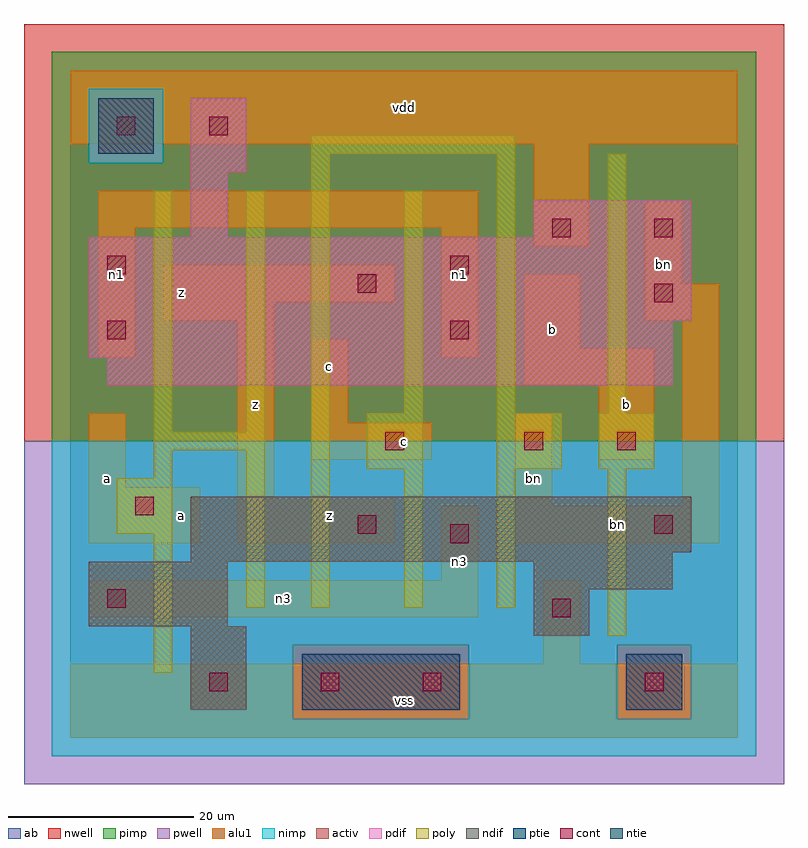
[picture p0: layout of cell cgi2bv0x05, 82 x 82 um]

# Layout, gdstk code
import gdstk
lib = gdstk.Library(unit=1e-6, precision=1e-09)
def R(c, l, rs):  # rectangles x0, y0, x1, y1
    for r in rs: c.add(gdstk.rectangle(r[:2], r[2:], *l))
ndif = (3, 0)
pdif = (4, 0)
ntie = (5, 0)
ptie = (6, 0)
cont = (25, 0)
pwell = (41, 0)
nwell = (42, 0)
activ = (43, 0)
pimp = (44, 0)
nimp = (45, 0)
poly = (46, 0)
alu1 = (49, 0)
ab = (63, 0)

cgi2bv0x05 = lib.new_cell('cgi2bv0x05')
R(cgi2bv0x05, ndif, [(13,3,19,12), (50,11,56,16), (2,12,17,19), (50,16,65,19), (13,19,65,20), (13,20,67,26)])
R(cgi2bv0x05, pdif, [(4,38,65,41), (2,41,65,45), (2,45,67,54), (13,54,17,61), (50,54,67,58), (13,61,19,69)])
R(cgi2bv0x05, ntie, [(3,63,9,69)])
R(cgi2bv0x05, ptie, [(25,3,42,9), (60,3,66,9)])
R(cgi2bv0x05, cont, [(15,5,17,7), (27,5,29,7), (38,5,40,7), (62,5,64,7), (52,13,54,15), (4,14,6,16), (41,21,43,23), (31,22,33,24), (63,22,65,24), (7,24,9,26), (34,31,36,33), (49,31,51,33), (59,31,61,33), (4,43,6,45), (41,43,43,45), (63,47,65,49), (31,48,33,50), (4,50,6,52), (41,50,43,52), (52,54,54,56), (63,54,65,56), (5,65,7,67), (15,65,17,67)])
R(cgi2bv0x05, pwell, [(-5,-5,77,32)])
R(cgi2bv0x05, nwell, [(-5,32,77,77)])
R(cgi2bv0x05, activ, [(13,3,19,12), (25,3,42,9), (60,3,66,9), (50,11,56,16), (2,12,17,19), (50,16,65,19), (13,19,65,20), (13,20,67,26), (4,38,65,41), (2,41,65,45), (2,45,67,54), (13,54,17,61), (50,54,67,58), (13,61,19,69), (3,63,9,69)])
R(cgi2bv0x05, pimp, [(24,2,43,10), (59,2,67,10), (-2,32,74,62), (-2,62,2,70), (10,62,74,70), (-2,70,74,74)])
R(cgi2bv0x05, nimp, [(-2,-2,74,2), (-2,2,24,10), (43,2,59,10), (67,2,74,10), (-2,10,74,32), (2,62,10,70)])
R(cgi2bv0x05, poly, [(9,7,11,22), (58,11,60,29), (19,14,21,31), (26,14,28,63), (36,14,38,29), (46,14,48,29), (5,22,11,28), (9,28,11,31), (32,29,38,35), (46,29,53,35), (57,29,63,35), (9,31,21,33), (9,33,11,59), (19,33,21,59), (36,35,38,59), (46,35,48,63), (58,35,60,63), (26,63,48,65)])
R(cgi2bv0x05, alu1, [(0,0,72,8), (51,8,55,17), (2,13,44,17), (40,17,44,25), (2,21,14,27), (18,21,35,26), (48,21,70,25), (48,25,52,35), (66,25,70,45), (18,26,22,45), (2,27,6,35), (26,30,39,34), (57,30,63,38), (26,34,30,43), (49,38,63,42), (3,41,7,55), (40,41,44,55), (49,42,55,50), (10,45,22,47), (62,45,70,49), (10,47,35,51), (62,49,66,58), (50,53,56,64), (3,55,44,59), (0,64,72,72)])
R(cgi2bv0x05, ab, [(0,0,72,72)])
cgi2bv0x05.add(gdstk.Label('n1', (5,50), layer=49, texttype=0))
cgi2bv0x05.add(gdstk.Label('n3', (23,15), layer=49, texttype=0))
cgi2bv0x05.add(gdstk.Label('n3', (42,19), layer=49, texttype=0))
cgi2bv0x05.add(gdstk.Label('bn', (50,28), layer=49, texttype=0))
cgi2bv0x05.add(gdstk.Label('n1', (42,50), layer=49, texttype=0))
cgi2bv0x05.add(gdstk.Label('bn', (59,23), layer=49, texttype=0))
cgi2bv0x05.add(gdstk.Label('bn', (64,51), layer=49, texttype=0))
cgi2bv0x05.add(gdstk.Label('a', (12,24), layer=49, texttype=0))
cgi2bv0x05.add(gdstk.Label('a', (4,28), layer=49, texttype=0))
cgi2bv0x05.add(gdstk.Label('z', (12,48), layer=49, texttype=0))
cgi2bv0x05.add(gdstk.Label('z', (28,24), layer=49, texttype=0))
cgi2bv0x05.add(gdstk.Label('c', (28,40), layer=49, texttype=0))
cgi2bv0x05.add(gdstk.Label('z', (20,36), layer=49, texttype=0))
cgi2bv0x05.add(gdstk.Label('vss', (36,4), layer=49, texttype=0))
cgi2bv0x05.add(gdstk.Label('c', (36,32), layer=49, texttype=0))
cgi2bv0x05.add(gdstk.Label('b', (52,44), layer=49, texttype=0))
cgi2bv0x05.add(gdstk.Label('vdd', (36,68), layer=49, texttype=0))
cgi2bv0x05.add(gdstk.Label('b', (60,36), layer=49, texttype=0))

lib.write_gds('cgi2bv0x05.gds')
